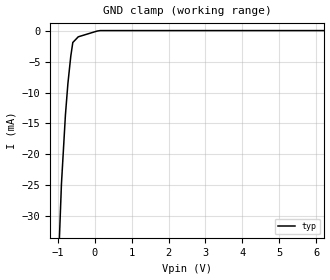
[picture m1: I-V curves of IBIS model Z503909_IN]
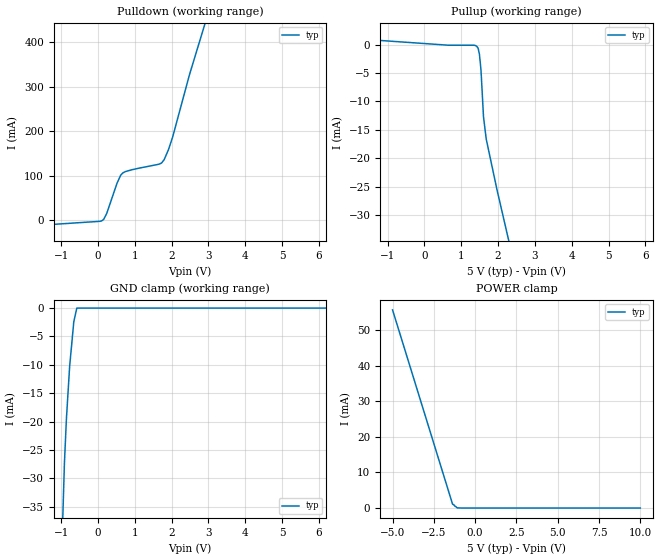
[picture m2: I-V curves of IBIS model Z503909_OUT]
| YOU ARE ONLY AUTHORIZED TO USE THIS SOFTWARE
| ACCORDING TO LICENSOR'S LICENSE RESTRICTIONS.
[IBIS Ver] 3.1
[File Name] mc54f13j.ibs
[File Rev] 2.0
[Source] Measured and created by ICX Technology
[Date] Friday 7/14/00 9:08:02 AM
[Copyright]
| (C) COPYRIGHT 1993-2000
| MENTOR GRAPHICS CORPORATION
| ICX STANDARD LIBRARY, ICX PROJECT MODELING,
| ICX CUSTOM MODELING, ICX VENDOR MODEL
| ALL RIGHTS RESERVED.
| THE FOLLOWING ARE TRADEMARKS OR SERVICE MARKS OF
| MENTOR GRAPHICS CORPORATION:ICX (R), ICX STANDARD
| LIBRARY(R), ICX PROJECT MODELING(R), ICX CUSTOM
| MODELING(R), qualityIBIS(TM), MODELVIEWER(TM),
| AND MODELEDITOR(TM)
| ALL COPIES OF SOFTWARE, INCLUDING BUT NOT LIMITED TO
| ANY MODIFICATIONS, ENHANCEMENTS OR DERIVATIVE WORKS,
| MUST CONTAIN ALL MENTOR GRAPHICS CORPORATION'S
| NOTICES AND LEGENDS, INCLUDING THOSE EMBEDDED IN
| SOFTWARE AND THOSE AFFIXED TO SOFTWARE MEDIUM
| AND CONTAINER, AS RECEIVED FROM MENTOR GRAPHICS
| CORPORATION.
|  ZAP Model Builder 2.7
[Component] MC54F13J
[Manufacturer] OnSemiconductor
[Package]
| variable   typ   min   max
R_pkg  .21ohms NA NA
L_pkg  4.543nH NA NA
C_pkg  1.8pF NA NA
[Pin] signal_name  model_name  R_pin  L_pin C_pin
1 A Z503909_IN .22 6.757n 2.434p
2 B Z503909_IN .212 4.757n 1.941p
3 NC NC .204 3.257n 1.448p
4 C Z503909_IN .196 2.257n .955p
5 D Z503909_IN .204 3.257n 1.448p
6 Y Z503909_OUT .212 4.757n 1.941p
7 GND GND .22 6.757n 2.434p
8 Y Z503909_OUT .22 6.757n 2.434p
9 A Z503909_IN .212 4.757n 1.941p
10 B Z503909_IN .204 3.257n 1.448p
11 NC NC .196 2.257n .955p
12 C Z503909_IN .204 3.257n 1.448p
13 D Z503909_IN .212 4.757n 1.941p
14 VCC POWER .22 6.757n 2.434p
| Models and submodels in the file (2): Z503909_IN (Input), Z503909_OUT (Output)
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| (C) COPYRIGHT 1993-2000
| MENTOR GRAPHICS CORPORATION
| ICX STANDARD LIBRARY, ICX PROJECT MODELING,
| ICX CUSTOM MODELING, ICX VENDOR MODEL
| ALL RIGHTS RESERVED.
| THE FOLLOWING ARE TRADEMARKS OR SERVICE MARKS OF
| MENTOR GRAPHICS CORPORATION:ICX (R), ICX STANDARD
| LIBRARY(R), ICX PROJECT MODELING(R), ICX CUSTOM
| MODELING(R), qualityIBIS(TM), MODELVIEWER(TM),
| AND MODELEDITOR(TM)
| ALL COPIES OF SOFTWARE, INCLUDING BUT NOT LIMITED TO
| ANY MODIFICATIONS, ENHANCEMENTS OR DERIVATIVE WORKS,
| MUST CONTAIN ALL MENTOR GRAPHICS CORPORATION'S
| NOTICES AND LEGENDS, INCLUDING THOSE EMBEDDED IN
| SOFTWARE AND THOSE AFFIXED TO SOFTWARE MEDIUM
| AND CONTAINER, AS RECEIVED FROM MENTOR GRAPHICS
| CORPORATION.
| Model Application Version 1.89 2/18/99.
[Model] Z503909_IN
Model_type Input
Vinl = 800.0mV
Vinh = 2.000V
C_comp 4.000pF NA NA
| variable typ   min   max
[Voltage Range] 5.000V NA NA
[GND Clamp Reference] 0.000V NA NA
[POWER Clamp Reference] 5.000V NA NA
[GND Clamp]
-5V       -677.5mA   NA         NA
-898.3mV  -24.83mA   NA         NA
-789.6mV  -13.58mA   NA         NA
-722.6mV  -8.517mA   NA         NA
-644.5mV  -4.101mA   NA         NA
-590.2mV  -1.919mA   NA         NA
-442.7mV  -1.003mA   NA         NA
68.47mV   -74.37uA   NA         NA
151.5mV   2.509uA    NA         NA
10V       2.509uA    NA         NA
[POWER Clamp]
-5V       0A         NA         NA
10V       0A         NA         NA
| (C) COPYRIGHT 1993-2000
| MENTOR GRAPHICS CORPORATION
| ICX STANDARD LIBRARY, ICX PROJECT MODELING,
| ICX CUSTOM MODELING, ICX VENDOR MODEL
| ALL RIGHTS RESERVED.
| THE FOLLOWING ARE TRADEMARKS OR SERVICE MARKS OF
| MENTOR GRAPHICS CORPORATION:ICX (R), ICX STANDARD
| LIBRARY(R), ICX PROJECT MODELING(R), ICX CUSTOM
| MODELING(R), qualityIBIS(TM), MODELVIEWER(TM),
| AND MODELEDITOR(TM)
| ALL COPIES OF SOFTWARE, INCLUDING BUT NOT LIMITED TO
| ANY MODIFICATIONS, ENHANCEMENTS OR DERIVATIVE WORKS,
| MUST CONTAIN ALL MENTOR GRAPHICS CORPORATION'S
| NOTICES AND LEGENDS, INCLUDING THOSE EMBEDDED IN
| SOFTWARE AND THOSE AFFIXED TO SOFTWARE MEDIUM
| AND CONTAINER, AS RECEIVED FROM MENTOR GRAPHICS
| CORPORATION.
| Model Application Version 1.89 2/18/99.
[Model] Z503909_OUT
Model_type Output
Vref=0.000V
Rref=500.0ohms
Cref=50.00pF
Vmeas=1.500V
C_comp 8.000pF NA NA
| variable typ   min   max
[Voltage Range] 5.000V NA NA
[POWER Clamp Reference] 5.000V NA NA
[Pullup Reference] 5.000V NA NA
[Pulldown Reference] 0.000V NA NA
[GND Clamp Reference] 0.000V NA NA
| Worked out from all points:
|   slope of the pulldown table from 0 to 0.75 V, typ, clamps not added: 6.69 ohm
|   slope of the pullup table from 0 to 0.75 V, typ, clamps not added: 2.54 kohm
|   GND clamp passes 1 mA (typ) near -0.61 V on its own axis
|   POWER clamp passes 1 mA (typ) near -1.33 V on its own axis
[GND Clamp]
-5V       -1.462A    NA         NA
-1.074V   -62.23mA   NA         NA
-912.2mV  -27.33mA   NA         NA
-858.8mV  -19.6mA    NA         NA
-771.2mV  -10.33mA   NA         NA
-658.1mV  -2.42mA    NA         NA
-575.8mV  0A         NA         NA
10V       0A         NA         NA
[Pulldown]
-5V       -29.13mA   NA         NA
87.93mV   -1.325mA   NA         NA
150.8mV   2.013mA    NA         NA
234mV     15.28mA    NA         NA
517.6mV   83.89mA    NA         NA
615.3mV   101.5mA    NA         NA
673.2mV   106.7mA    NA         NA
1.67V     126.7mA    NA         NA
1.797V    136.6mA    NA         NA
2.024V    186.5mA    NA         NA
2.485V    327.5mA    NA         NA
10V       2.37A      NA         NA
[Pullup]
-5V       2.437mA    NA         NA
654mV     -114.6uA   NA         NA
1.343V    -114.6uA   NA         NA
1.382V    -154.9uA   NA         NA
1.421V    -305.4uA   NA         NA
1.46V     -626.8uA   NA         NA
1.496V    -1.728mA   NA         NA
1.538V    -4.514mA   NA         NA
1.606V    -12.71mA   NA         NA
1.68V     -16.61mA   NA         NA
1.973V    -25.53mA   NA         NA
10V       -250.5mA   NA         NA
[POWER Clamp]
-5V       55.75mA    NA         NA
-1.367V   1.08mA     NA         NA
-1.289V   902.9uA    NA         NA
-1.232V   552.6uA    NA         NA
-1.17V    404.5uA    NA         NA
-1.092V   38.05uA    NA         NA
-819mV    0A         NA         NA
10V       0A         NA         NA
[Ramp]
| variable typ min max
dV/dt_r 2.000/1.654n NA NA
dV/dt_f 2.000/558.6p NA NA
R_load = 500.0Ohms
